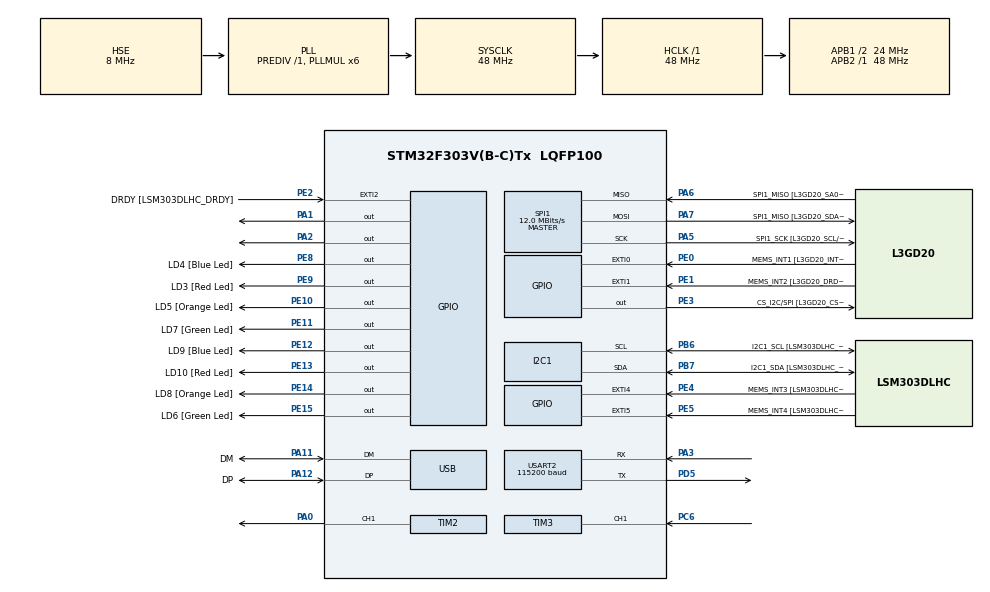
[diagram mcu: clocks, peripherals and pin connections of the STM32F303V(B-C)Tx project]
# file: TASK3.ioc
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I2C1.Timing=0x2000090E
I2C1.Timing-I2C=0x2000090E
Mcu.Family=STM32F3
Mcu.Name=STM32F303V(B-C)Tx
Mcu.Package=LQFP100
NVIC.PriorityGroup=NVIC_PRIORITYGROUP_0
NVIC.TIM3_IRQn=true\:0\:0\:false\:false\:true\:true\:true\:true
PA0.Signal=S_TIM2_CH1_ETR
PA1.Signal=GPIO_Output
PA11.GPIO_Label=DM
PA11.Mode=Device
PA11.Signal=USB_DM
PA12.GPIO_Label=DP
PA12.Mode=Device
PA12.Signal=USB_DP
PA13.GPIO_Label=SWDIO
PA13.Mode=Serial_Wire
PA13.Signal=SYS_JTMS-SWDIO
PA14.GPIO_Label=SWCLK
PA14.Mode=Serial_Wire
PA14.Signal=SYS_JTCK-SWCLK
PA2.Signal=GPIO_Output
PA3.Mode=Asynchronous
PA3.Signal=USART2_RX
PA5.GPIO_Label=SPI1_SCK [L3GD20_SCL/SPC]
PA5.Mode=Full_Duplex_Master
PA5.Signal=SPI1_SCK
PA6.GPIO_Label=SPI1_MISO [L3GD20_SA0/SDO]
PA6.Mode=Full_Duplex_Master
PA6.Signal=SPI1_MISO
PA7.GPIO_Label=SPI1_MISO [L3GD20_SDA/SDI/SDO]
PA7.Mode=Full_Duplex_Master
PA7.Signal=SPI1_MOSI
PB3.GPIO_Label=SWO
PB3.Signal=SYS_JTDO-TRACESWO
PB6.GPIO_Label=I2C1_SCL [LSM303DLHC_SCL]
PB6.GPIO_Pu=GPIO_PULLUP
PB6.Mode=I2C
PB6.Signal=I2C1_SCL
PB7.GPIO_Label=I2C1_SDA [LSM303DLHC_SDA]
PB7.GPIO_Pu=GPIO_PULLUP
PB7.Mode=I2C
PB7.Signal=I2C1_SDA
PC14-OSC32_IN.GPIO_Label=OSC32_IN
PC14-OSC32_IN.Signal=RCC_OSC32_IN
PC15-OSC32_OUT.GPIO_Label=OSC32_OUT
PC15-OSC32_OUT.Signal=RCC_OSC32_OUT
PC6.Signal=S_TIM3_CH1
PD5.Mode=Asynchronous
PD5.Signal=USART2_TX
PE0.GPIO_Label=MEMS_INT1 [L3GD20_INT1]
PE0.GPIO_ModeDefaultEXTI=GPIO_MODE_EVT_RISING
PE0.Signal=GPXTI0
PE1.GPIO_Label=MEMS_INT2 [L3GD20_DRDY/INT2]
PE1.GPIO_ModeDefaultEXTI=GPIO_MODE_EVT_RISING
PE1.Signal=GPXTI1
PE10.GPIO_Label=LD5 [Orange Led]
PE10.Signal=GPIO_Output
PE11.GPIO_Label=LD7 [Green Led]
PE11.Signal=GPIO_Output
PE12.GPIO_Label=LD9 [Blue Led]
PE12.Signal=GPIO_Output
PE13.GPIO_Label=LD10 [Red Led]
PE13.Signal=GPIO_Output
PE14.GPIO_Label=LD8 [Orange Led]
PE14.Signal=GPIO_Output
PE15.GPIO_Label=LD6 [Green Led]
PE15.Signal=GPIO_Output
PE2.GPIO_Label=DRDY [LSM303DLHC_DRDY]
PE2.GPIO_ModeDefaultEXTI=GPIO_MODE_EVT_RISING
PE2.Signal=GPXTI2
PE3.GPIO_Label=CS_I2C/SPI [L3GD20_CS_I2C/SPI]
PE3.Signal=GPIO_Output
PE4.GPIO_Label=MEMS_INT3 [LSM303DLHC_INT1]
PE4.GPIO_ModeDefaultEXTI=GPIO_MODE_EVT_RISING
PE4.Signal=GPXTI4
PE5.GPIO_Label=MEMS_INT4 [LSM303DLHC_INT2]
PE5.GPIO_ModeDefaultEXTI=GPIO_MODE_EVT_RISING
PE5.Signal=GPXTI5
PE8.GPIO_Label=LD4 [Blue Led]
PE8.Signal=GPIO_Output
PE9.GPIO_Label=LD3 [Red Led]
PE9.Signal=GPIO_Output
PF0-OSC_IN.GPIO_Label=OSC_IN
PF0-OSC_IN.Mode=HSE-External-Clock-Source
PF0-OSC_IN.Signal=RCC_OSC_IN
PF1-OSC_OUT.GPIO_Label=OSC_OUT
PF1-OSC_OUT.Signal=RCC_OSC_OUT
ProjectManager.HeapSize=0x200
ProjectManager.StackSize=0x400
ProjectManager.TargetToolchain=CMake
RCC.AHBFreq_Value=48000000
RCC.APB1CLKDivider=RCC_HCLK_DIV2
RCC.APB1Freq_Value=24000000
RCC.APB1TimFreq_Value=48000000
RCC.APB2Freq_Value=48000000
RCC.APB2TimFreq_Value=48000000
RCC.CortexFreq_Value=48000000
RCC.HCLKFreq_Value=48000000
RCC.HSE_VALUE=8000000
RCC.HSI_VALUE=8000000
RCC.LSE_VALUE=32768
RCC.PLLMUL=RCC_PLL_MUL6
RCC.SYSCLKFreq_VALUE=48000000
RCC.SYSCLKSourceVirtual=RCC_SYSCLKSOURCE_PLLCLK
RCC.USBFreq_Value=48000000
SH.S_TIM2_CH1_ETR.0=TIM2_CH1,PWM Generation1 CH1
SH.S_TIM3_CH1.0=TIM3_CH1,Input_Capture1_from_TI1
SPI1.BaudRatePrescaler=SPI_BAUDRATEPRESCALER_4
SPI1.BaudRatePrescaler-Full_Duplex_Master=SPI_BAUDRATEPRESCALER_2
SPI1.CalculateBaudRate=12.0 MBits/s
SPI1.CalculateBaudRate-Full_Duplex_Master=24.0 MBits/s
SPI1.Direction=SPI_DIRECTION_2LINES
SPI1.Mode=SPI_MODE_MASTER
SPI1.Mode-Full_Duplex_Master=SPI_MODE_MASTER
SPI1.VirtualType=VM_MASTER
TIM2.Channel-PWM\ Generation1\ CH1=TIM_CHANNEL_1
TIM2.Prescaler=47
TIM3.Channel-Input_Capture1_from_TI1=TIM_CHANNEL_1
TIM3.Prescaler=71
USART2.BaudRate=115200
USART2.VirtualMode-Asynchronous=VM_ASYNC
board=STM32F3DISCOVERY

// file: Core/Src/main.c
/* USER CODE BEGIN Header */
/**
 ******************************************************************************
 * @file           : main.c
 * @brief          : Main program body
 ******************************************************************************
 * @attention
 *
 * Copyright (c) 2025 STMicroelectronics.
 * All rights reserved.
 *
 * This software is licensed under terms that can be found in the LICENSE file
 * in the root directory of this software component.
 * If no LICENSE file comes with this software, it is provided AS-IS.
 *
 ******************************************************************************
 */
/* USER CODE END Header */
#include "main.h"
#include <stdarg.h>
#include <stdio.h>
#include <string.h>

I2C_HandleTypeDef hi2c1;

SPI_HandleTypeDef hspi1;

TIM_HandleTypeDef htim2;
TIM_HandleTypeDef htim3;

UART_HandleTypeDef huart2;

PCD_HandleTypeDef hpcd_USB_FS;

/* USER CODE BEGIN PV */

#define MOTOR_IN1_Pin GPIO_PIN_1
#define MOTOR_IN2_Pin GPIO_PIN_2
#define MOTOR_PORT GPIOA

// Encoder setup
#define ENCODER_Pin GPIO_PIN_6
#define ENCODER_PORT GPIOC

// Constants
#define PPR 330 // pulses per revolution
                 // Globals
uint32_t ic_val1 = 0, ic_val2 = 0;
uint32_t capture_done = 0;
uint8_t first_capture = 0;
int period_ticks = 0;
int frequency = 0, rpm = 0;
/* USER CODE END PV */

void SystemClock_Config(void);
static void MX_GPIO_Init(void);
static void MX_I2C1_Init(void);
static void MX_SPI1_Init(void);
static void MX_TIM2_Init(void);
static void MX_TIM3_Init(void);
static void MX_USART2_UART_Init(void);
static void MX_USB_PCD_Init(void);

/* USER CODE BEGIN 0 */
// Simple UART print helper
void print(const char *fmt, ...)
{
  char buf[128];
  va_list args;
  va_start(args, fmt);
  vsnprintf(buf, sizeof(buf), fmt, args);
  va_end(args);
  HAL_UART_Transmit(&huart2, (uint8_t *)buf, strlen(buf), HAL_MAX_DELAY);
}
/* USER CODE END 0 */

int main(void)
{

  /* MCU Configuration--------------------------------------------------------*/

  /* Reset of all peripherals, Initializes the Flash interface and the Systick. */
  HAL_Init();

  /* Configure the system clock */
  SystemClock_Config();

  /* Initialize all configured peripherals */
  MX_GPIO_Init();
  MX_I2C1_Init();
  MX_SPI1_Init();
  MX_TIM2_Init();
  MX_TIM3_Init();
  MX_USART2_UART_Init();
  MX_USB_PCD_Init();
  /* USER CODE BEGIN 2 */
  print("\r\n=== Lab 06 Task 4: Encoder RPM via Input Capture ===\r\n");

  // Motor setup
  // ---- MOTOR CONTROL (TIM2 PWM) ----
  HAL_GPIO_WritePin(MOTOR_PORT, MOTOR_IN1_Pin, GPIO_PIN_SET);
  HAL_GPIO_WritePin(MOTOR_PORT, MOTOR_IN2_Pin, GPIO_PIN_RESET);
  HAL_TIM_PWM_Start(&htim2, TIM_CHANNEL_1);
  __HAL_TIM_SET_COMPARE(&htim2, TIM_CHANNEL_1, 800); // 50% duty cycle

  // ---- ENCODER INPUT CAPTURE (TIM3) ----
  HAL_TIM_IC_Start_IT(&htim3, TIM_CHANNEL_1);

  /* USER CODE END 2 */

  /* Infinite loop */
  /* USER CODE BEGIN WHILE */
  while (1)
  {
    if (capture_done)
    {
      capture_done = 0;

      if (period_ticks > 0)
      {
        frequency = 1000000 / period_ticks; // Hz
        rpm = (60 * frequency) / PPR;

        print("Ticks: %lu   Freq: %d Hz   RPM: %d\r\n", period_ticks, frequency, rpm);
      }
    }
    HAL_Delay(100);
  }
  /* USER CODE END 3 */
}

void SystemClock_Config(void)
{
  RCC_OscInitTypeDef RCC_OscInitStruct = {0};
  RCC_ClkInitTypeDef RCC_ClkInitStruct = {0};
  RCC_PeriphCLKInitTypeDef PeriphClkInit = {0};

  /** Initializes the RCC Oscillators according to the specified parameters
   * in the RCC_OscInitTypeDef structure.
   */
  RCC_OscInitStruct.OscillatorType = RCC_OSCILLATORTYPE_HSI | RCC_OSCILLATORTYPE_HSE;
  RCC_OscInitStruct.HSEState = RCC_HSE_BYPASS;
  RCC_OscInitStruct.HSEPredivValue = RCC_HSE_PREDIV_DIV1;
  RCC_OscInitStruct.HSIState = RCC_HSI_ON;
  RCC_OscInitStruct.HSICalibrationValue = RCC_HSICALIBRATION_DEFAULT;
  RCC_OscInitStruct.PLL.PLLState = RCC_PLL_ON;
  RCC_OscInitStruct.PLL.PLLSource = RCC_PLLSOURCE_HSE;
  RCC_OscInitStruct.PLL.PLLMUL = RCC_PLL_MUL6;
  if (HAL_RCC_OscConfig(&RCC_OscInitStruct) != HAL_OK)
  {
    Error_Handler();
  }

  /** Initializes the CPU, AHB and APB buses clocks
   */
  RCC_ClkInitStruct.ClockType = RCC_CLOCKTYPE_HCLK | RCC_CLOCKTYPE_SYSCLK | RCC_CLOCKTYPE_PCLK1 | RCC_CLOCKTYPE_PCLK2;
  RCC_ClkInitStruct.SYSCLKSource = RCC_SYSCLKSOURCE_PLLCLK;
  RCC_ClkInitStruct.AHBCLKDivider = RCC_SYSCLK_DIV1;
  RCC_ClkInitStruct.APB1CLKDivider = RCC_HCLK_DIV2;
  RCC_ClkInitStruct.APB2CLKDivider = RCC_HCLK_DIV1;

  if (HAL_RCC_ClockConfig(&RCC_ClkInitStruct, FLASH_LATENCY_1) != HAL_OK)
  {
    Error_Handler();
  }
  PeriphClkInit.PeriphClockSelection = RCC_PERIPHCLK_USB | RCC_PERIPHCLK_USART2 | RCC_PERIPHCLK_I2C1;
  PeriphClkInit.Usart2ClockSelection = RCC_USART2CLKSOURCE_PCLK1;
  PeriphClkInit.I2c1ClockSelection = RCC_I2C1CLKSOURCE_HSI;
  PeriphClkInit.USBClockSelection = RCC_USBCLKSOURCE_PLL;
  if (HAL_RCCEx_PeriphCLKConfig(&PeriphClkInit) != HAL_OK)
  {
    Error_Handler();
  }
}

static void MX_I2C1_Init(void)
{

  hi2c1.Instance = I2C1;
  hi2c1.Init.Timing = 0x2000090E;
  hi2c1.Init.OwnAddress1 = 0;
  hi2c1.Init.AddressingMode = I2C_ADDRESSINGMODE_7BIT;
  hi2c1.Init.DualAddressMode = I2C_DUALADDRESS_DISABLE;
  hi2c1.Init.OwnAddress2 = 0;
  hi2c1.Init.OwnAddress2Masks = I2C_OA2_NOMASK;
  hi2c1.Init.GeneralCallMode = I2C_GENERALCALL_DISABLE;
  hi2c1.Init.NoStretchMode = I2C_NOSTRETCH_DISABLE;
  if (HAL_I2C_Init(&hi2c1) != HAL_OK)
  {
    Error_Handler();
  }

  /** Configure Analogue filter
   */
  if (HAL_I2CEx_ConfigAnalogFilter(&hi2c1, I2C_ANALOGFILTER_ENABLE) != HAL_OK)
  {
    Error_Handler();
  }

  /** Configure Digital filter
   */
  if (HAL_I2CEx_ConfigDigitalFilter(&hi2c1, 0) != HAL_OK)
  {
    Error_Handler();
  }
}

static void MX_SPI1_Init(void)
{

  /* SPI1 parameter configuration*/
  hspi1.Instance = SPI1;
  hspi1.Init.Mode = SPI_MODE_MASTER;
  hspi1.Init.Direction = SPI_DIRECTION_2LINES;
  hspi1.Init.DataSize = SPI_DATASIZE_4BIT;
  hspi1.Init.CLKPolarity = SPI_POLARITY_LOW;
  hspi1.Init.CLKPhase = SPI_PHASE_1EDGE;
  hspi1.Init.NSS = SPI_NSS_SOFT;
  hspi1.Init.BaudRatePrescaler = SPI_BAUDRATEPRESCALER_4;
  hspi1.Init.FirstBit = SPI_FIRSTBIT_MSB;
  hspi1.Init.TIMode = SPI_TIMODE_DISABLE;
  hspi1.Init.CRCCalculation = SPI_CRCCALCULATION_DISABLE;
  hspi1.Init.CRCPolynomial = 7;
  hspi1.Init.CRCLength = SPI_CRC_LENGTH_DATASIZE;
  hspi1.Init.NSSPMode = SPI_NSS_PULSE_ENABLE;
  if (HAL_SPI_Init(&hspi1) != HAL_OK)
  {
    Error_Handler();
  }
}

static void MX_TIM2_Init(void)
{

  TIM_MasterConfigTypeDef sMasterConfig = {0};
  TIM_OC_InitTypeDef sConfigOC = {0};

  htim2.Instance = TIM2;
  htim2.Init.Prescaler = 47;
  htim2.Init.CounterMode = TIM_COUNTERMODE_UP;
  htim2.Init.Period = 999;
  htim2.Init.ClockDivision = TIM_CLOCKDIVISION_DIV1;
  htim2.Init.AutoReloadPreload = TIM_AUTORELOAD_PRELOAD_DISABLE;
  if (HAL_TIM_PWM_Init(&htim2) != HAL_OK)
  {
    Error_Handler();
  }
  sMasterConfig.MasterOutputTrigger = TIM_TRGO_RESET;
  sMasterConfig.MasterSlaveMode = TIM_MASTERSLAVEMODE_DISABLE;
  if (HAL_TIMEx_MasterConfigSynchronization(&htim2, &sMasterConfig) != HAL_OK)
  {
    Error_Handler();
  }
  sConfigOC.OCMode = TIM_OCMODE_PWM1;
  sConfigOC.Pulse = 0;
  sConfigOC.OCPolarity = TIM_OCPOLARITY_HIGH;
  sConfigOC.OCFastMode = TIM_OCFAST_DISABLE;
  if (HAL_TIM_PWM_ConfigChannel(&htim2, &sConfigOC, TIM_CHANNEL_1) != HAL_OK)
  {
    Error_Handler();
  }
  HAL_TIM_MspPostInit(&htim2);
}

static void MX_TIM3_Init(void)
{

  TIM_MasterConfigTypeDef sMasterConfig = {0};
  TIM_IC_InitTypeDef sConfigIC = {0};

  htim3.Instance = TIM3;
  htim3.Init.Prescaler = 71;
  htim3.Init.CounterMode = TIM_COUNTERMODE_UP;
  htim3.Init.Period = 65535;
  htim3.Init.ClockDivision = TIM_CLOCKDIVISION_DIV1;
  htim3.Init.AutoReloadPreload = TIM_AUTORELOAD_PRELOAD_DISABLE;
  if (HAL_TIM_IC_Init(&htim3) != HAL_OK)
  {
    Error_Handler();
  }
  sMasterConfig.MasterOutputTrigger = TIM_TRGO_RESET;
  sMasterConfig.MasterSlaveMode = TIM_MASTERSLAVEMODE_DISABLE;
  if (HAL_TIMEx_MasterConfigSynchronization(&htim3, &sMasterConfig) != HAL_OK)
  {
    Error_Handler();
  }
  sConfigIC.ICPolarity = TIM_INPUTCHANNELPOLARITY_RISING;
  sConfigIC.ICSelection = TIM_ICSELECTION_DIRECTTI;
  sConfigIC.ICPrescaler = TIM_ICPSC_DIV1;
  sConfigIC.ICFilter = 0;
  if (HAL_TIM_IC_ConfigChannel(&htim3, &sConfigIC, TIM_CHANNEL_1) != HAL_OK)
  {
    Error_Handler();
  }
}

static void MX_USART2_UART_Init(void)
{

  huart2.Instance = USART2;
  huart2.Init.BaudRate = 115200;
  huart2.Init.WordLength = UART_WORDLENGTH_8B;
  huart2.Init.StopBits = UART_STOPBITS_1;
  huart2.Init.Parity = UART_PARITY_NONE;
  huart2.Init.Mode = UART_MODE_TX_RX;
  huart2.Init.HwFlowCtl = UART_HWCONTROL_NONE;
  huart2.Init.OverSampling = UART_OVERSAMPLING_16;
  huart2.Init.OneBitSampling = UART_ONE_BIT_SAMPLE_DISABLE;
  huart2.AdvancedInit.AdvFeatureInit = UART_ADVFEATURE_NO_INIT;
  if (HAL_UART_Init(&huart2) != HAL_OK)
  {
    Error_Handler();
  }
}

static void MX_USB_PCD_Init(void)
{

  hpcd_USB_FS.Instance = USB;
  hpcd_USB_FS.Init.dev_endpoints = 8;
  hpcd_USB_FS.Init.speed = PCD_SPEED_FULL;
  hpcd_USB_FS.Init.phy_itface = PCD_PHY_EMBEDDED;
  hpcd_USB_FS.Init.low_power_enable = DISABLE;
  hpcd_USB_FS.Init.battery_charging_enable = DISABLE;
  if (HAL_PCD_Init(&hpcd_USB_FS) != HAL_OK)
  {
    Error_Handler();
  }
}

static void MX_GPIO_Init(void)
{
  GPIO_InitTypeDef GPIO_InitStruct = {0};

  /* GPIO Ports Clock Enable */
  __HAL_RCC_GPIOE_CLK_ENABLE();
  __HAL_RCC_GPIOC_CLK_ENABLE();
  __HAL_RCC_GPIOF_CLK_ENABLE();
  __HAL_RCC_GPIOA_CLK_ENABLE();
  __HAL_RCC_GPIOD_CLK_ENABLE();
  __HAL_RCC_GPIOB_CLK_ENABLE();

  /*Configure GPIO pin Output Level */
  HAL_GPIO_WritePin(GPIOE, CS_I2C_SPI_Pin | LD4_Pin | LD3_Pin | LD5_Pin | LD7_Pin | LD9_Pin | LD10_Pin | LD8_Pin | LD6_Pin, GPIO_PIN_RESET);

  /*Configure GPIO pin Output Level */
  HAL_GPIO_WritePin(GPIOA, GPIO_PIN_1 | GPIO_PIN_2, GPIO_PIN_RESET);

  /*Configure GPIO pins : DRDY_Pin MEMS_INT3_Pin MEMS_INT4_Pin MEMS_INT1_Pin
                           MEMS_INT2_Pin */
  GPIO_InitStruct.Pin = DRDY_Pin | MEMS_INT3_Pin | MEMS_INT4_Pin | MEMS_INT1_Pin | MEMS_INT2_Pin;
  GPIO_InitStruct.Mode = GPIO_MODE_EVT_RISING;
  GPIO_InitStruct.Pull = GPIO_NOPULL;
  HAL_GPIO_Init(GPIOE, &GPIO_InitStruct);

  /*Configure GPIO pins : CS_I2C_SPI_Pin LD4_Pin LD3_Pin LD5_Pin
                           LD7_Pin LD9_Pin LD10_Pin LD8_Pin
                           LD6_Pin */
  GPIO_InitStruct.Pin = CS_I2C_SPI_Pin | LD4_Pin | LD3_Pin | LD5_Pin | LD7_Pin | LD9_Pin | LD10_Pin | LD8_Pin | LD6_Pin;
  GPIO_InitStruct.Mode = GPIO_MODE_OUTPUT_PP;
  GPIO_InitStruct.Pull = GPIO_NOPULL;
  GPIO_InitStruct.Speed = GPIO_SPEED_FREQ_LOW;
  HAL_GPIO_Init(GPIOE, &GPIO_InitStruct);

  /*Configure GPIO pins : PA1 PA2 */
  GPIO_InitStruct.Pin = GPIO_PIN_1 | GPIO_PIN_2;
  GPIO_InitStruct.Mode = GPIO_MODE_OUTPUT_PP;
  GPIO_InitStruct.Pull = GPIO_NOPULL;
  GPIO_InitStruct.Speed = GPIO_SPEED_FREQ_LOW;
  HAL_GPIO_Init(GPIOA, &GPIO_InitStruct);

}

/* USER CODE BEGIN 4 */
void HAL_TIM_IC_CaptureCallback(TIM_HandleTypeDef *htim)
{
  static uint32_t first = 0;

  if (htim->Channel == HAL_TIM_ACTIVE_CHANNEL_1)
  {
    if (first == 0)
    {
      ic_val1 = HAL_TIM_ReadCapturedValue(htim, TIM_CHANNEL_1);
      first = 1;
    }
    else if (first == 1)
    {
      ic_val2 = HAL_TIM_ReadCapturedValue(htim, TIM_CHANNEL_1);

      if (ic_val2 > ic_val1)
        period_ticks = ic_val2 - ic_val1;
      else
        period_ticks = (0xFFFF - ic_val1) + ic_val2; // handle overflow

      first = 0;
      capture_done = 1;
    }
  }
}
/* USER CODE END 4 */

void Error_Handler(void)
{
  __disable_irq();
  while (1)
  {
  }
}
